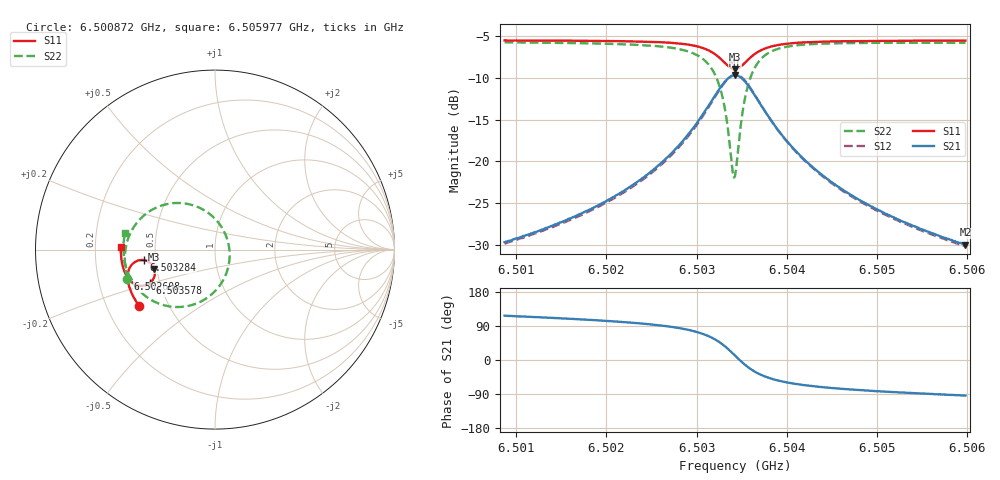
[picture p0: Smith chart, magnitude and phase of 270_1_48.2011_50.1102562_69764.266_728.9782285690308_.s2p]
#  HZ  S  RI  R  50.00
! Rohde & Schwarz Vector Network Analyzer
! Rohde-Schwarz,ZNB20-2Port,1311601062101988,3.16
! Created: UTC 3/20/2024, 11:48:07 AM
! freq[Hz]  re:S11  im:S11  re:S21  im:S21  re:S12  im:S12  re:S22  im:S22
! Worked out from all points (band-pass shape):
!   401 points, 6.500872 GHz to 6.505977 GHz, reference 50 ohm
!   highest |S21| = -9.72 dB at 6.503425 GHz (marker M1); lowest = -29.9 dB at 6.505977 GHz (marker M2)
!   |S21| within 3 dB of the highest: 6.50317 GHz to 6.503679 GHz (509.6 kHz wide, 0.00784 % of centre)
!   lowest |S11| = -9.0 dB at 6.503425 GHz (marker M3), VSWR 2.10, Z = 24.3 - j6.01 ohm
!   |S11| at or under -10 dB: nowhere
!   |S22| runs from -21.9 to -5.8 dB; largest |S21 - S12| = 0.011
!   S11 on the Smith chart (normalised r, x): 6.500872 GHz: 0.34, -0.30; 6.502608 GHz: 0.33, -0.15; 6.503284 GHz: 0.43, -0.06; 6.503578 GHz: 0.44, -0.20; 6.505977 GHz: 0.31, +0.01
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6.5008722e9  -0.4227 -0.3141  -0.015 0.0294  -0.0133 0.0295  -0.4877 -0.1612
6.5017273e9  -0.4599 -0.2516  -0.0144 0.047  -0.012 0.0465  -0.502 -0.0716
6.5022123e9  -0.4772 -0.2089  -0.0114 0.067  -0.00849 0.0658  -0.4994 -0.00337
6.5025825e9  -0.4863 -0.1683  -0.00292 0.0953  0.000858 0.0931  -0.481 0.0697
6.502608e9  -0.4865 -0.1652  -0.00154 0.098  0.00202 0.0956  -0.4784 0.0759
6.5028505e9  -0.4851 -0.1294  0.0177 0.132  0.0216 0.1281  -0.4378 0.1466
6.5030292e9  -0.4724 -0.0958  0.0549 0.1689  0.058 0.1633  -0.3651 0.2134
6.5031823e9  -0.439 -0.0653  0.1287 0.1993  0.1299 0.1927  -0.2297 0.2591
6.5032844e9  -0.3963 -0.0586  0.2143 0.1901  0.2144 0.1849  -0.081 0.2307
6.5033355e9  -0.3708 -0.0673  0.2623 0.162  0.2631 0.1574  -0.00089 0.1728
6.5033993e9  -0.3443 -0.0939  0.3098 0.0986  0.3123 0.0934  0.0705 0.0504
6.5034248e9  -0.3379 -0.1084  0.3198 0.0664  0.3229 0.0605  0.0811 -0.0092
6.5034504e9  -0.3351 -0.1239  0.3234 0.0329  0.3268 0.026  0.079 -0.0703
6.5035142e9  -0.3423 -0.1608  0.3052 -0.0445  0.3071 -0.0544  0.0233 -0.2045
6.503578e9  -0.3633 -0.1865  0.2625 -0.0981  0.2614 -0.1093  -0.0728 -0.2865
6.5036801e9  -0.4026 -0.2015  0.1882 -0.1338  0.183 -0.1431  -0.2218 -0.3197
6.503846e9  -0.4484 -0.1917  0.1073 -0.1308  0.1005 -0.1357  -0.3676 -0.273
6.5040247e9  -0.4756 -0.1704  0.0634 -0.1109  0.0571 -0.1131  -0.4389 -0.2085
6.50428e9  -0.4962 -0.1402  0.0336 -0.0868  0.0289 -0.0873  -0.4819 -0.1368
6.5046246e9  -0.5106 -0.1044  0.016 -0.0657  0.0125 -0.0652  -0.5028 -0.0684
6.5051351e9  -0.5212 -0.0573  0.00498 -0.0475  0.00275 -0.0467  -0.51 0.00353
6.5059775e9  -0.5259 0.0139  -0.00222 -0.0318  -0.0033 -0.0311  -0.5019 0.0919
